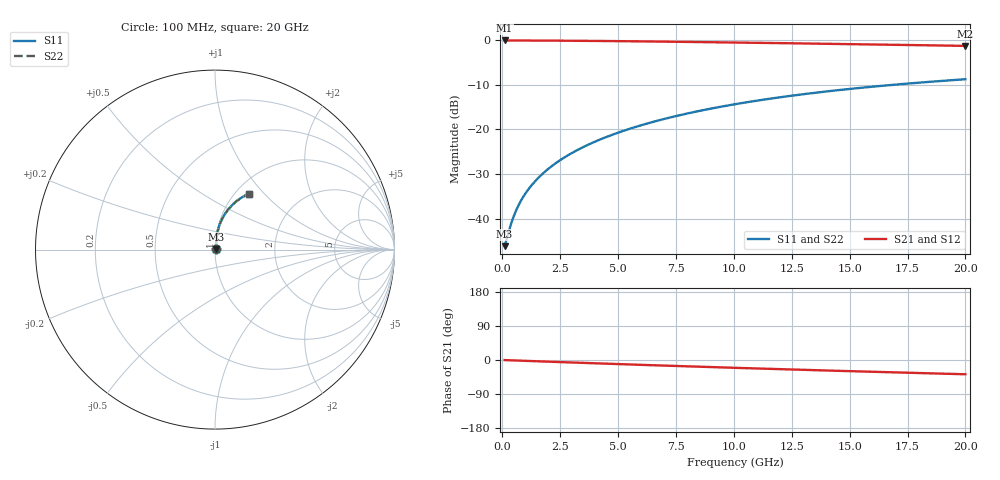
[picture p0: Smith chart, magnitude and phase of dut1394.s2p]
! Touchstone file exported from HFSS 2024.1.0
!  File:  C:/UserFiles/LocalFiles/RDL_TSV_Batchsim/temp_RDL_bottom_1394_1780372145.aedt
!  Generated:  11:52:02 AM Jun  2, 2026
!  Design:  RDL_bottom
!  Project:  temp_RDL_bottom_1394_1780372145
!  Setup:  Setup1
!  Solution:  Sweep
! Variables:
!  dtsv = 10.80580581um
!  hbump = 3um
!  htsv = 64.09um
!  ldown = 508.1um
!  lrdl = 100um
!  p = 40
!  p1 = 48.08um
!  rhole = 1um
!  t = 450um
!  tdown = 2.04um
!  trdl = 3.915915916um
!  wdown = 21.11um
!  wrdl = 20um
# GHz S MA R 50.000000
! Terminal data exported
! Port[1] = RDL1_T1
! Port[2] = RDL1_T2
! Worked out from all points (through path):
!   200 points, 100 MHz to 20 GHz, reference 50 ohm
!   highest |S21| = -0.04 dB at 100 MHz (marker M1); lowest = -1.3 dB at 20 GHz (marker M2)
!   group delay of S21, straight-line fit = 5.2 ps
!   lowest |S11| = -46.2 dB at 100 MHz (marker M3), VSWR 1.01, Z = 50.5 + j0.199 ohm
!   |S11| at or under -10 dB: start of sweep to 16.84 GHz
!   |S22| runs from -46.2 to -8.7 dB; largest |S21 - S12| = 3.4e-15
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0.1  0.004922 23.6  0.9955 -0.2  0.9955 -0.2  0.004922 23.6
! Gamma 0 0 0 0
! Port Impedance 50 0 50 0
0.4  0.009106 57.6  0.995 -0.9  0.995 -0.9  0.009106 57.6
0.5  0.01077 62.1  0.9948 -1.1  0.9948 -1.1  0.01077 62.1
0.6  0.01245 65.4  0.9946 -1.4  0.9946 -1.4  0.01245 65.4
0.7  0.01413 67.8  0.9944 -1.6  0.9944 -1.6  0.01413 67.8
0.9  0.0175 71.4  0.994 -2.0  0.994 -2.0  0.0175 71.4
1.2  0.02259 74.9  0.9933 -2.7  0.9933 -2.7  0.02259 74.9
1.4  0.02602 76.5  0.9929 -3.1  0.9929 -3.1  0.02602 76.5
1.7  0.03121 78.2  0.9921 -3.8  0.9921 -3.8  0.03121 78.2
2.2  0.04 80.1  0.9907 -4.9  0.9907 -4.9  0.04 80.1
2.8  0.05078 81.4  0.9886 -6.2  0.9886 -6.2  0.05078 81.4
3.5  0.06363 82.1  0.9857 -7.7  0.9857 -7.7  0.06363 82.1
4.2  0.07677 82.3  0.9824 -9.1  0.9824 -9.1  0.07677 82.2
5  0.0921 82.0  0.9781 -10.8  0.9781 -10.8  0.09209 82.0
5.9  0.1097 81.4  0.9728 -12.6  0.9728 -12.6  0.1097 81.3
6.8  0.1275 80.4  0.9671 -14.4  0.9671 -14.4  0.1274 80.4
8.4  0.1593 78.2  0.9561 -17.5  0.9561 -17.5  0.1593 78.2
10.1  0.193 75.6  0.9437 -20.7  0.9437 -20.7  0.193 75.5
11.7  0.2241 72.8  0.9316 -23.7  0.9316 -23.7  0.2241 72.8
13.4  0.256 69.9  0.9183 -26.7  0.9183 -26.7  0.256 69.8
16.7  0.3139 64.1  0.8919 -32.3  0.8919 -32.3  0.3139 64.1
20  0.3659 58.6  0.8652 -37.6  0.8652 -37.6  0.3658 58.6
